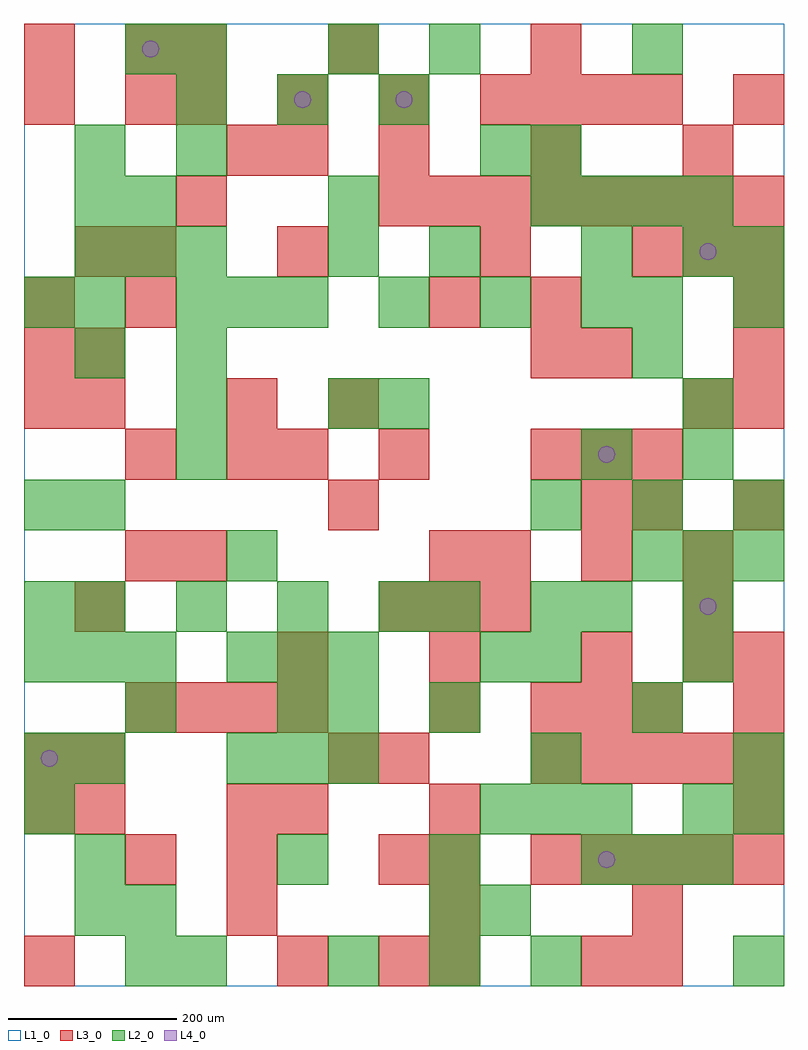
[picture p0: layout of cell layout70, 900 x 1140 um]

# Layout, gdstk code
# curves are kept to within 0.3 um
import gdstk
lib = gdstk.Library(unit=1e-6, precision=1e-09)
def R(c, l, rs):  # rectangles x0, y0, x1, y1
    for r in rs: c.add(gdstk.rectangle(r[:2], r[2:], *l))
def A(c, l, x, y, w, h, nx, ny, dx, dy):  # array of equal rectangles
    R(c, l, [(x+i*dx, y+j*dy, x+i*dx+w, y+j*dy+h) for i in range(nx) for j in range(ny)])
def P(c, l, *ps):  # polygons
    for p in ps: c.add(gdstk.Polygon(p, *l))
L1_0 = (1, 0)
L2_0 = (2, 0)
L3_0 = (3, 0)
L4_0 = (4, 0)

layout70 = lib.new_cell('layout70')
R(layout70, L1_0, [(0,0,900,1140)])
A(layout70, L2_0, 360, 0, 60, 60, 3, 1, 120, 0)
A(layout70, L2_0, 300, 120, 60, 60, 3, 1, 180, 0)
A(layout70, L2_0, 540, 180, 60, 60, 3, 1, 60, 0)
A(layout70, L2_0, 240, 240, 60, 60, 3, 2, 60, 120)
A(layout70, L2_0, 0, 360, 60, 60, 3, 1, 60, 0)
A(layout70, L2_0, 60, 420, 60, 60, 4, 1, 120, 0)
A(layout70, L2_0, 720, 480, 60, 60, 3, 1, 60, 0)
A(layout70, L2_0, 600, 540, 60, 60, 3, 1, 120, 0)
A(layout70, L2_0, 180, 600, 60, 60, 1, 3, 0, 60)
A(layout70, L2_0, 180, 780, 60, 60, 3, 1, 60, 0)
A(layout70, L2_0, 420, 780, 60, 60, 3, 1, 120, 0)
A(layout70, L2_0, 60, 840, 60, 60, 3, 1, 60, 0)
A(layout70, L2_0, 120, 900, 60, 60, 3, 1, 240, 0)
A(layout70, L2_0, 660, 900, 60, 60, 3, 1, 60, 0)
A(layout70, L2_0, 180, 1020, 60, 60, 3, 1, 120, 0)
R(layout70, L2_0, [(120,0,180,60), (180,0,240,60), (840,0,900,60), (60,60,120,120), (120,60,180,120), (480,60,540,120), (540,60,600,120), (60,120,120,180), (720,120,780,180), (780,120,840,180), (0,180,60,240), (780,180,840,240), (840,180,900,240), (0,240,60,300), (60,240,120,300), (600,240,660,300), (840,240,900,300), (120,300,180,360), (300,300,360,360), (360,300,420,360), (480,300,540,360), (720,300,780,360), (540,360,600,420), (600,360,660,420), (780,360,840,420), (0,420,60,480), (480,420,540,480), (600,420,660,480), (660,420,720,480), (780,420,840,480), (240,480,300,540), (0,540,60,600), (60,540,120,600), (660,600,720,660), (780,600,840,660), (360,660,420,720), (420,660,480,720), (780,660,840,720), (60,720,120,780), (720,720,780,780), (0,780,60,840), (60,780,120,840), (720,780,780,840), (840,780,900,840), (360,840,420,900), (480,840,540,900), (660,840,720,900), (780,840,840,900), (840,840,900,900), (60,900,120,960), (60,960,120,1020), (180,960,240,1020), (540,960,600,1020), (600,960,660,1020), (120,1080,180,1140), (180,1080,240,1140), (360,1080,420,1140), (480,1080,540,1140), (720,1080,780,1140)])
A(layout70, L3_0, 420, 0, 60, 60, 1, 3, 0, 120)
A(layout70, L3_0, 240, 60, 60, 60, 3, 1, 240, 0)
A(layout70, L3_0, 600, 120, 60, 60, 5, 2, 60, 120)
A(layout70, L3_0, 120, 300, 60, 60, 4, 1, 60, 0)
A(layout70, L3_0, 600, 300, 60, 60, 3, 2, 60, 300)
A(layout70, L3_0, 300, 360, 60, 60, 3, 1, 180, 0)
A(layout70, L3_0, 420, 420, 60, 60, 3, 1, 60, 0)
A(layout70, L3_0, 540, 480, 60, 60, 3, 1, 120, 0)
A(layout70, L3_0, 0, 660, 60, 60, 1, 3, 0, 60)
A(layout70, L3_0, 840, 660, 60, 60, 1, 3, 0, 60)
A(layout70, L3_0, 720, 840, 60, 60, 3, 1, 60, 0)
A(layout70, L3_0, 420, 900, 60, 60, 8, 1, 60, 0)
A(layout70, L3_0, 420, 960, 60, 60, 3, 1, 180, 0)
A(layout70, L3_0, 180, 1020, 60, 60, 4, 1, 120, 0)
A(layout70, L3_0, 600, 1020, 60, 60, 3, 1, 60, 0)
R(layout70, L3_0, [(0,0,60,60), (300,0,360,60), (480,0,540,60), (660,0,720,60), (720,0,780,60), (120,120,180,180), (240,120,300,180), (480,120,540,180), (0,180,60,240), (60,180,120,240), (240,180,300,240), (300,180,360,240), (480,180,540,240), (840,180,900,240), (0,240,60,300), (60,240,120,300), (360,240,420,300), (480,300,540,360), (840,300,900,360), (780,360,840,420), (840,360,900,420), (60,420,120,480), (780,420,840,480), (120,480,180,540), (180,480,240,540), (480,480,540,540), (360,540,420,600), (660,540,720,600), (720,540,780,600), (840,540,900,600), (120,600,180,660), (240,600,300,660), (300,600,360,660), (420,600,480,660), (60,660,120,720), (240,660,300,720), (360,660,420,720), (780,660,840,720), (60,720,120,780), (600,720,660,780), (660,720,720,780), (120,780,180,840), (480,780,540,840), (600,780,660,840), (60,840,120,900), (120,840,180,900), (300,840,360,900), (540,840,600,900), (180,900,240,960), (240,960,300,1020), (300,960,360,1020), (0,1020,60,1080), (120,1020,180,1080), (840,1020,900,1080), (0,1080,60,1140), (120,1080,180,1140), (180,1080,240,1140), (360,1080,420,1140), (600,1080,660,1140)])
P(layout70, L4_0, [(40,270),(39.239,273.827),(37.071,277.071),(33.827,279.239),(30,280),(26.173,279.239),(22.929,277.071),(20.761,273.827),(20,270),(20.761,266.173),(22.929,262.929),(26.173,260.761),(30,260),(33.827,260.761),(37.071,262.929),(39.239,266.173)],
  [(160,1110),(159.239,1113.827),(157.071,1117.071),(153.827,1119.239),(150,1120),(146.173,1119.239),(142.929,1117.071),(140.761,1113.827),(140,1110),(140.761,1106.173),(142.929,1102.929),(146.173,1100.761),(150,1100),(153.827,1100.761),(157.071,1102.929),(159.239,1106.173)],
  [(340,1050),(339.239,1053.827),(337.071,1057.071),(333.827,1059.239),(330,1060),(326.173,1059.239),(322.929,1057.071),(320.761,1053.827),(320,1050),(320.761,1046.173),(322.929,1042.929),(326.173,1040.761),(330,1040),(333.827,1040.761),(337.071,1042.929),(339.239,1046.173)],
  [(460,1050),(459.239,1053.827),(457.071,1057.071),(453.827,1059.239),(450,1060),(446.173,1059.239),(442.929,1057.071),(440.761,1053.827),(440,1050),(440.761,1046.173),(442.929,1042.929),(446.173,1040.761),(450,1040),(453.827,1040.761),(457.071,1042.929),(459.239,1046.173)],
  [(700,150),(699.239,153.827),(697.071,157.071),(693.827,159.239),(690,160),(686.173,159.239),(682.929,157.071),(680.761,153.827),(680,150),(680.761,146.173),(682.929,142.929),(686.173,140.761),(690,140),(693.827,140.761),(697.071,142.929),(699.239,146.173)],
  [(700,630),(699.239,633.827),(697.071,637.071),(693.827,639.239),(690,640),(686.173,639.239),(682.929,637.071),(680.761,633.827),(680,630),(680.761,626.173),(682.929,622.929),(686.173,620.761),(690,620),(693.827,620.761),(697.071,622.929),(699.239,626.173)],
  [(820,450),(819.239,453.827),(817.071,457.071),(813.827,459.239),(810,460),(806.173,459.239),(802.929,457.071),(800.761,453.827),(800,450),(800.761,446.173),(802.929,442.929),(806.173,440.761),(810,440),(813.827,440.761),(817.071,442.929),(819.239,446.173)],
  [(820,870),(819.239,873.827),(817.071,877.071),(813.827,879.239),(810,880),(806.173,879.239),(802.929,877.071),(800.761,873.827),(800,870),(800.761,866.173),(802.929,862.929),(806.173,860.761),(810,860),(813.827,860.761),(817.071,862.929),(819.239,866.173)])

lib.write_gds('layout70.gds')
